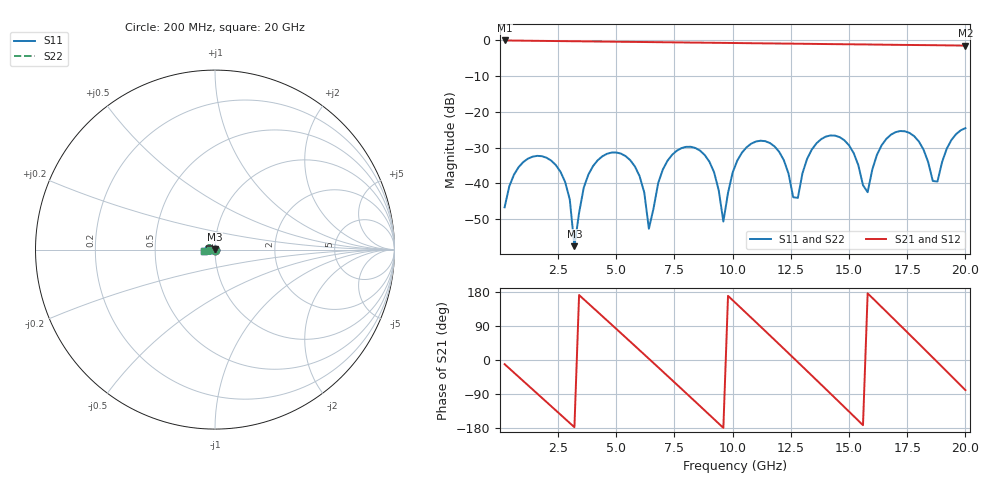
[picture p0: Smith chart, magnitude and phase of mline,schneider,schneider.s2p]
# HZ S RI R 50
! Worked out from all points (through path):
!   100 points, 200 MHz to 20 GHz, reference 50 ohm
!   highest |S21| = -0.02 dB at 200 MHz (marker M1); lowest = -1.5 dB at 20 GHz (marker M2)
!   group delay of S21, straight-line fit = 161 ps
!   lowest |S11| = -57.5 dB at 3.2 GHz (marker M3), VSWR 1.00, Z = 49.9 + j0.109 ohm
!   |S11| at or under -10 dB: start of sweep to end of sweep
!   |S22| runs from -57.5 to -24.5 dB; largest |S21 - S12| = 0
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2e8  -0.000939 -0.00454  0.9793 -0.1917  0.9793 -0.1917  -0.000939 -0.00454
2e9  -0.0214 0.00797  -0.3485 -0.9185  -0.3485 -0.9185  -0.0214 0.00797
2.8e9  -0.00489 0.00928  -0.8859 -0.4095  -0.8859 -0.4095  -0.00489 0.00928
3.2e9  -0.000747 0.0011  -0.9718 -0.0434  -0.9718 -0.0434  -0.000747 0.0011
3.6e9  -0.00363 -0.0079  -0.9126 0.3272  -0.9126 0.3272  -0.00363 -0.0079
5e9  -0.0268 0.00359  0.1325 0.9488  0.1325 0.9488  -0.0268 0.00359
6e9  -0.00667 0.0107  0.8552 0.4145  0.8552 0.4145  -0.00667 0.0107
6.4e9  -0.00169 0.0016  0.9458 0.0544  0.9458 0.0544  -0.00169 0.0016
6.8e9  -0.00485 -0.0089  0.8909 -0.3126  0.8909 -0.3126  -0.00485 -0.0089
8.4e9  -0.0296 0.0101  -0.3234 -0.8734  -0.3234 -0.8734  -0.0296 0.0101
9.2e9  -0.00798 0.0119  -0.8467 -0.3741  -0.8467 -0.3741  -0.00798 0.0119
9.6e9  -0.00289 0.000464  -0.9226 -0.013  -0.9226 -0.013  -0.00289 0.000464
1.02e10  -0.0138 -0.0158  -0.7623 0.5114  -0.7623 0.5114  -0.0138 -0.0158
1.16e10  -0.0339 0.0141  0.3864 0.8206  0.3864 0.8206  -0.0339 0.0141
1.26e10  -0.00494 0.00409  0.895 0.0964  0.895 0.0964  -0.00494 0.00409
1.34e10  -0.0222 -0.0198  0.6739 -0.5873  0.6739 -0.5873  -0.0222 -0.0198
1.44e10  -0.046 0.00738  -0.1594 -0.8716  -0.1594 -0.8716  -0.046 0.00738
1.54e10  -0.0114 0.0139  -0.8269 -0.2998  -0.8269 -0.2998  -0.0114 0.0139
1.58e10  -0.00685 -0.00314  -0.8746 0.0626  -0.8746 0.0626  -0.00685 -0.00314
1.68e10  -0.0445 -0.0178  -0.376 0.7831  -0.376 0.7831  -0.0445 -0.0178
1.86e10  -0.00938 0.00538  0.8515 0.0956  0.8515 0.0956  -0.00938 0.00538
2e10  -0.0586 -0.00918  0.1567 -0.831  0.1567 -0.831  -0.0586 -0.00918
